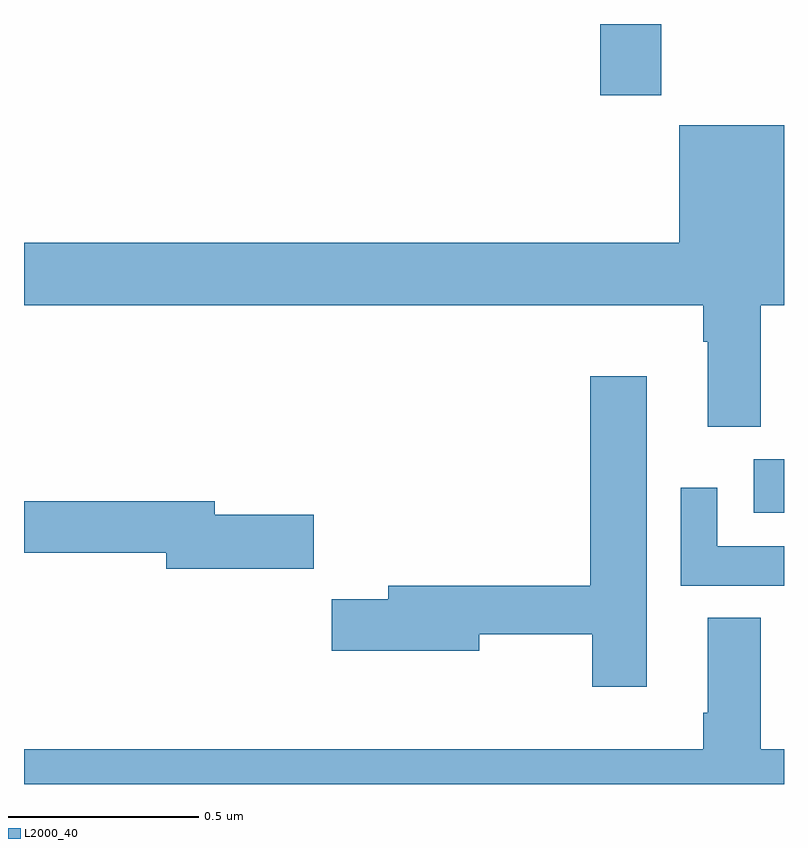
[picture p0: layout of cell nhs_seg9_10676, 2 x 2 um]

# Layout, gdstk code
import gdstk
lib = gdstk.Library(unit=1e-6, precision=1e-09)
def R(c, l, rs):  # rectangles x0, y0, x1, y1
    for r in rs: c.add(gdstk.rectangle(r[:2], r[2:], *l))
def P(c, l, *ps):  # polygons
    for p in ps: c.add(gdstk.Polygon(p, *l))
L2000_40 = (2000, 40)

nhs_seg9_10676 = lib.new_cell('nhs_seg9_10676')
R(nhs_seg9_10676, L2000_40, [(247.92,1189.214,248,1189.354), (247.517,1190.313,247.677,1190.5)])
P(nhs_seg9_10676, L2000_40, [(247.939,1189.76),(248,1189.76),(248,1190.233),(247.724,1190.233),(247.724,1189.924),(246,1189.924),(246,1189.76),(247.787,1189.76),(247.787,1189.664),(247.799,1189.664),(247.799,1189.44),(247.939,1189.44)],
  [(247.639,1189.573),(247.49,1189.573),(247.49,1189.022),(246.959,1189.022),(246.959,1188.986),(246.81,1188.986),(246.81,1188.851),(247.198,1188.851),(247.198,1188.894),(247.495,1188.894),(247.495,1188.756),(247.639,1188.756)],
  [(248,1189.126),(247.824,1189.126),(247.824,1189.279),(247.728,1189.279),(247.728,1189.022),(248,1189.022)],
  [(246.763,1189.208),(246.502,1189.208),(246.502,1189.244),(246,1189.244),(246,1189.108),(246.374,1189.108),(246.374,1189.066),(246.763,1189.066)],
  [(246,1188.5),(248,1188.5),(248,1188.592),(247.939,1188.592),(247.939,1188.937),(247.799,1188.937),(247.799,1188.688),(247.787,1188.688),(247.787,1188.592),(246,1188.592)])

lib.write_gds('nhs_seg9_10676.gds')
